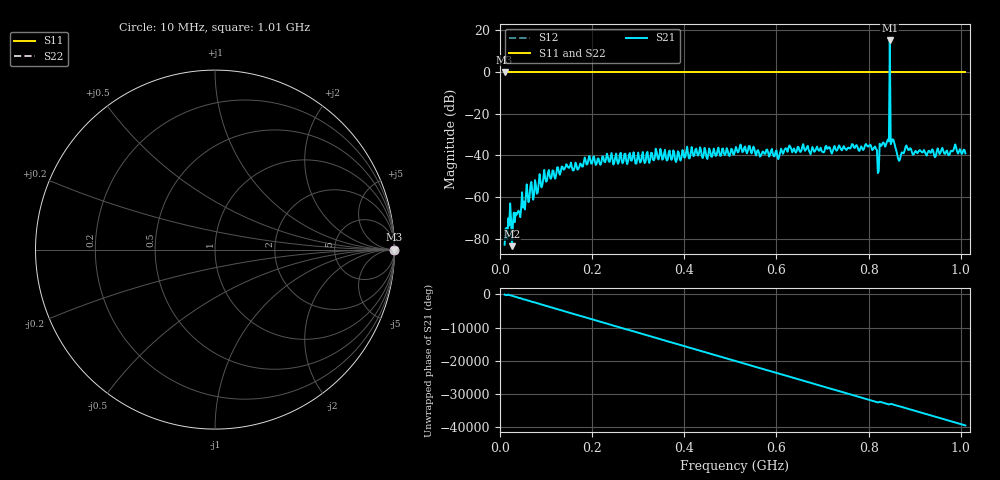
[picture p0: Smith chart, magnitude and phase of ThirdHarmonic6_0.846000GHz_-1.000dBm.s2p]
! 8/16/2025 4:01:52 AM
! C:\ANRITSUVNA\TEMP\TEMP.S2P
! CHANNEL.1
! TR.MEASUREMENT
! RAW.DATA
! RF.CORRECTION.OFF
! AVERAGING.OFF
! IF.BANDWIDTH: 5KHZ
! SWEEPTYPE:  FREQ.SWEEP(Linear)
! Reference Plane Port Info
! PORT:  PORT1  PORT2
! DISTANCE:  0  m  0  m
! TIME:  0  s  0  s
! PHASE.OFFSET:  0  deg.  0  deg.
! LOSS:  0  dB  0  dB
! REF.LOSS:  0  dB  0  dB
! REF.FREQ:  0  Hz  0  Hz
! Power Info
! POWER:  -20  dBm  -20  dBm
! EFF.POWER:  -20  dBm  -20  dBm
! SOURCE.ATTEN:  0  dB  0  dB
! TEST.ATTEN:  0  dB  0  dB
# GHZ S RI R 50.0
! FREQ.GHZ  S11RE  S11IM  S21RE  S21IM  S12RE  S12IM  S22RE  S22IM
!; PortSelection: Port_12
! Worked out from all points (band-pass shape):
!   501 points, 10 MHz to 1.01 GHz, reference 50 ohm
!   highest |S21| = 15.08 dB at 846 MHz (marker M1); lowest = -83.6 dB at 26 MHz (marker M2)
!   |S21| within 3 dB of the highest: 845.876 MHz to 846.1205 MHz (244.5 kHz wide, 0.0289 % of centre)
!   lowest |S11| = 0.0 dB at 10 MHz (marker M3)
!   |S11| at or under -10 dB: nowhere
!   |S22| runs from 0.0 to 0.0 dB; largest |S21 - S12| = 5.4
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0.01  1 0  -1.61e-05 -6.95e-05  1 0  1 0
0.026  1 0  3.99e-05 -5.26e-05  1 0  1 0
0.062  1 0  -0.000633 -0.000403  1 0  1 0
0.1  1 0  -0.000495 0.00227  1 0  1 0
0.178  1 0  -0.00537 -0.000421  1 0  1 0
0.344  1 0  0.00752 -0.00257  1 0  1 0
0.51  1 0  -0.0118 0.00459  1 0  1 0
0.678  1 0  -0.0103 -0.012  1 0  1 0
0.798  1 0  0.00508 0.0154  1 0  1 0
0.814  1 0  -0.014 0.00823  1 0  1 0
0.818  1 0  0.0133 -0.00144  1 0  1 0
0.824  1 0  -0.00824 0.017  1 0  1 0
0.828  1 0  0.0118 -0.0125  1 0  1 0
0.84  1 0  -0.0212 -0.00331  1 0  1 0
0.842  1 0  -0.00448 0.0236  1 0  1 0
0.844  1 0  0.021 0.00501  1 0  1 0
0.846  1 0  2.211 5.23  1 0  1 0
0.85  1 0  -0.0124 0.0174  1 0  1 0
0.852  1 0  0.0189 0.0152  1 0  1 0
0.866  1 0  -0.00691 -0.00251  1 0  1 0
0.884  1 0  -0.0141 -0.00516  1 0  1 0
1.01  1 0  -0.0111 -0.00037  1 0  1 0
